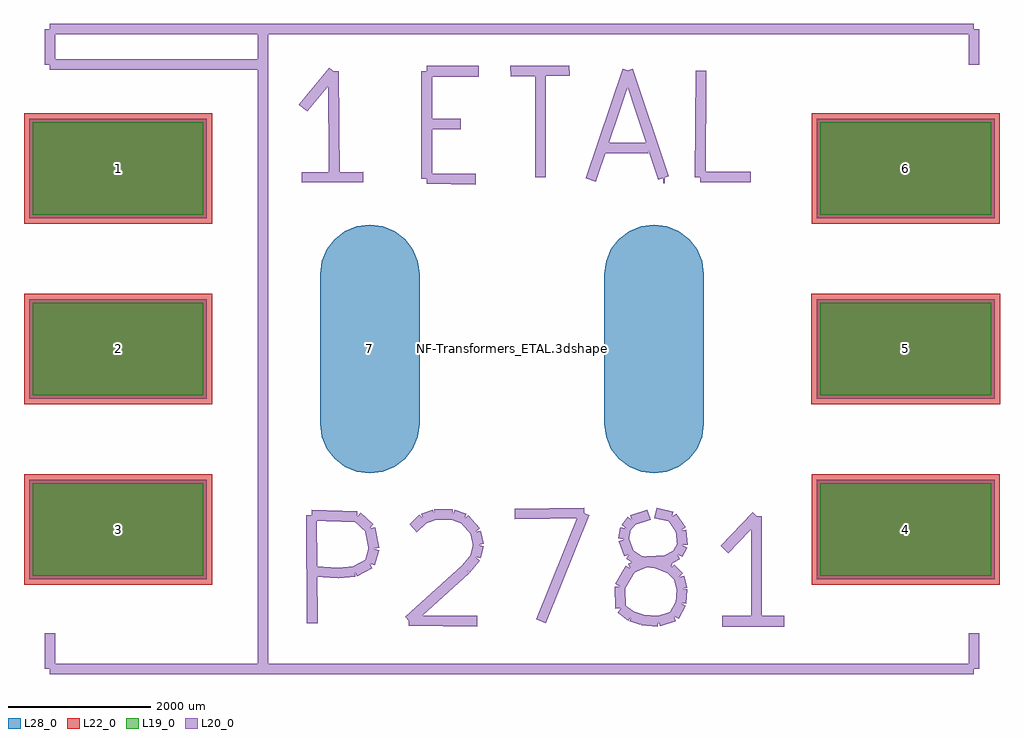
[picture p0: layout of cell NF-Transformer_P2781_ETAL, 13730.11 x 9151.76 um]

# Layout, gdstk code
import gdstk
lib = gdstk.Library(unit=1e-6, precision=1e-09)
def R(c, l, rs):  # rectangles x0, y0, x1, y1
    for r in rs: c.add(gdstk.rectangle(r[:2], r[2:], *l))
def A(c, l, x, y, w, h, nx, ny, dx, dy):  # array of equal rectangles
    R(c, l, [(x+i*dx, y+j*dy, x+i*dx+w, y+j*dy+h) for i in range(nx) for j in range(ny)])
def P(c, l, *ps):  # polygons
    for p in ps: c.add(gdstk.Polygon(p, *l))
L19_0 = (19, 0)
L20_0 = (20, 0)
L22_0 = (22, 0)
L28_0 = (28, 0)

nf_transformer_p2781_eta = lib.new_cell('NF-Transformer_P2781_ETAL')
A(nf_transformer_p2781_eta, L19_0, -6739.42, -3189.77, 2399.36, 1299.54, 1, 3, 0, 2540)
R(nf_transformer_p2781_eta, L19_0, [(4340.06,-3189.77,6739.42,-1890.23), (4338.79,-649.77,6740.69,649.77), (4340.06,1890.23,6739.42,3189.77)])
A(nf_transformer_p2781_eta, L22_0, -6864.42, -3314.77, 2649.36, 1549.54, 1, 3, 0, 2540)
R(nf_transformer_p2781_eta, L22_0, [(4215.06,-3314.77,6864.42,-1765.23), (4213.79,-774.77,6865.69,774.77), (4215.06,1765.23,6864.42,3314.77)])
A(nf_transformer_p2781_eta, L28_0, -6789.42, -3239.77, 2499.36, 1399.54, 1, 3, 0, 2540)
R(nf_transformer_p2781_eta, L28_0, [(4290.06,-3239.77,6789.42,-1840.23), (4288.79,-699.77,6790.69,699.77), (4290.06,1840.23,6789.42,3239.77)])
P(nf_transformer_p2781_eta, L28_0, [(1998.98,-1750.06),(2180.094,-1726.216),(2348.865,-1656.309),(2493.792,-1545.102),(2604.999,-1400.175),(2674.906,-1231.404),(2698.75,-1050.29),(2698.75,1050.29),(2674.906,1231.404),(2604.999,1400.175),(2493.792,1545.102),(2348.865,1656.309),(2180.094,1726.216),(1998.98,1750.06),(1817.866,1726.216),(1649.095,1656.309),(1504.168,1545.102),(1392.961,1400.175),(1323.054,1231.404),(1299.21,1050.29),(1299.21,-1050.29),(1323.054,-1231.404),(1392.961,-1400.175),(1504.168,-1545.102),(1649.095,-1656.309),(1817.866,-1726.216)],
  [(-1998.98,-1750.06),(-1817.866,-1726.216),(-1649.095,-1656.309),(-1504.168,-1545.102),(-1392.961,-1400.175),(-1323.054,-1231.404),(-1299.21,-1050.29),(-1299.21,1050.29),(-1323.054,1231.404),(-1392.961,1400.175),(-1504.168,1545.102),(-1649.095,1656.309),(-1817.866,1726.216),(-1998.98,1750.06),(-2180.094,1726.216),(-2348.865,1656.309),(-2493.792,1545.102),(-2604.999,1400.175),(-2674.906,1231.404),(-2698.75,1050.29),(-2698.75,-1050.29),(-2674.906,-1231.404),(-2604.999,-1400.175),(-2493.792,-1545.102),(-2348.865,-1656.309),(-2180.094,-1726.216)])
nf_transformer_p2781_eta.add(gdstk.FlexPath([(-6499.86,4500.88),(6499.86,4500.88)], 149.998, ends="flush", simple_path=True, layer=20, datatype=0))  # L20_0
nf_transformer_p2781_eta.add(gdstk.FlexPath([(6499.86,-4500.88),(-6499.86,-4500.88)], 149.998, ends="flush", simple_path=True, layer=20, datatype=0))  # L20_0
nf_transformer_p2781_eta.add(gdstk.FlexPath([(-6499.86,4500.88),(-6499.86,4000.5)], 149.998, ends="flush", simple_path=True, layer=20, datatype=0))  # L20_0
nf_transformer_p2781_eta.add(gdstk.FlexPath([(-3500.12,4500.88),(-3500.12,-4500.88)], 149.998, ends="flush", simple_path=True, layer=20, datatype=0))  # L20_0
nf_transformer_p2781_eta.add(gdstk.FlexPath([(-6499.86,-4500.88),(-6499.86,-4000.5)], 149.998, ends="flush", simple_path=True, layer=20, datatype=0))  # L20_0
nf_transformer_p2781_eta.add(gdstk.FlexPath([(-6499.86,4000.5),(-3500.12,4000.5)], 149.998, ends="flush", simple_path=True, layer=20, datatype=0))  # L20_0
nf_transformer_p2781_eta.add(gdstk.FlexPath([(-2509.52,3909.06),(-2499.36,2430.78)], 149.998, ends="flush", simple_path=True, layer=20, datatype=0))  # L20_0
nf_transformer_p2781_eta.add(gdstk.FlexPath([(-2938.78,3390.9),(-2509.52,3909.06)], 149.998, ends="flush", simple_path=True, layer=20, datatype=0))  # L20_0
nf_transformer_p2781_eta.add(gdstk.FlexPath([(-2959.1,2410.46),(-2090.42,2420.62)], 149.998, ends="flush", simple_path=True, layer=20, datatype=0))  # L20_0
nf_transformer_p2781_eta.add(gdstk.FlexPath([(-1198.88,2397.76),(-510.54,2387.6)], 149.998, ends="flush", simple_path=True, layer=20, datatype=0))  # L20_0
nf_transformer_p2781_eta.add(gdstk.FlexPath([(-1198.88,3906.52),(-1198.88,2397.76)], 149.998, ends="flush", simple_path=True, layer=20, datatype=0))  # L20_0
nf_transformer_p2781_eta.add(gdstk.FlexPath([(-469.9,3906.52),(-1198.88,3906.52)], 149.998, ends="flush", simple_path=True, layer=20, datatype=0))  # L20_0
nf_transformer_p2781_eta.add(gdstk.FlexPath([(-1170.94,3167.38),(-718.82,3167.38)], 149.998, ends="flush", simple_path=True, layer=20, datatype=0))  # L20_0
nf_transformer_p2781_eta.add(gdstk.FlexPath([(-20.32,3906.52),(810.26,3916.68)], 149.998, ends="flush", simple_path=True, layer=20, datatype=0))  # L20_0
nf_transformer_p2781_eta.add(gdstk.FlexPath([(401.32,3886.2),(401.32,2418.08)], 149.998, ends="flush", simple_path=True, layer=20, datatype=0))  # L20_0
nf_transformer_p2781_eta.add(gdstk.FlexPath([(2131.06,2407.92),(2148.84,2407.92)], 149.998, ends="flush", simple_path=True, layer=20, datatype=0))  # L20_0
nf_transformer_p2781_eta.add(gdstk.FlexPath([(1630.68,3916.68),(2131.06,2407.92)], 149.998, ends="flush", simple_path=True, layer=20, datatype=0))  # L20_0
nf_transformer_p2781_eta.add(gdstk.FlexPath([(1109.98,2377.44),(1630.68,3916.68)], 149.998, ends="flush", simple_path=True, layer=20, datatype=0))  # L20_0
nf_transformer_p2781_eta.add(gdstk.FlexPath([(1270,2827.02),(1920.24,2827.02)], 149.998, ends="flush", simple_path=True, layer=20, datatype=0))  # L20_0
nf_transformer_p2781_eta.add(gdstk.FlexPath([(2649.22,2418.08),(3360.42,2418.08)], 149.998, ends="flush", simple_path=True, layer=20, datatype=0))  # L20_0
nf_transformer_p2781_eta.add(gdstk.FlexPath([(2659.38,3916.68),(2649.22,2418.08)], 149.998, ends="flush", simple_path=True, layer=20, datatype=0))  # L20_0
nf_transformer_p2781_eta.add(gdstk.FlexPath([(-2440.94,-3149.6),(-2771.14,-3129.28)], 149.998, ends="flush", simple_path=True, layer=20, datatype=0))  # L20_0
nf_transformer_p2781_eta.add(gdstk.FlexPath([(-2209.8,-3129.28),(-2440.94,-3149.6)], 149.998, ends="flush", simple_path=True, layer=20, datatype=0))  # L20_0
nf_transformer_p2781_eta.add(gdstk.FlexPath([(-1998.98,-3020.06),(-2209.8,-3129.28)], 149.998, ends="flush", simple_path=True, layer=20, datatype=0))  # L20_0
nf_transformer_p2781_eta.add(gdstk.FlexPath([(-1940.56,-2809.24),(-1998.98,-3020.06)], 149.998, ends="flush", simple_path=True, layer=20, datatype=0))  # L20_0
nf_transformer_p2781_eta.add(gdstk.FlexPath([(-1998.98,-2519.68),(-1940.56,-2809.24)], 149.998, ends="flush", simple_path=True, layer=20, datatype=0))  # L20_0
nf_transformer_p2781_eta.add(gdstk.FlexPath([(-2179.32,-2359.66),(-1998.98,-2519.68)], 149.998, ends="flush", simple_path=True, layer=20, datatype=0))  # L20_0
nf_transformer_p2781_eta.add(gdstk.FlexPath([(-2819.4,-2339.34),(-2179.32,-2359.66)], 149.998, ends="flush", simple_path=True, layer=20, datatype=0))  # L20_0
nf_transformer_p2781_eta.add(gdstk.FlexPath([(-2809.24,-3858.26),(-2819.4,-2339.34)], 149.998, ends="flush", simple_path=True, layer=20, datatype=0))  # L20_0
nf_transformer_p2781_eta.add(gdstk.FlexPath([(-1450.34,-3820.16),(-490.22,-3830.32)], 149.998, ends="flush", simple_path=True, layer=20, datatype=0))  # L20_0
nf_transformer_p2781_eta.add(gdstk.FlexPath([(-650.24,-3098.8),(-1450.34,-3820.16)], 149.998, ends="flush", simple_path=True, layer=20, datatype=0))  # L20_0
nf_transformer_p2781_eta.add(gdstk.FlexPath([(-510.54,-2928.62),(-650.24,-3098.8)], 149.998, ends="flush", simple_path=True, layer=20, datatype=0))  # L20_0
nf_transformer_p2781_eta.add(gdstk.FlexPath([(-469.9,-2758.44),(-510.54,-2928.62)], 149.998, ends="flush", simple_path=True, layer=20, datatype=0))  # L20_0
nf_transformer_p2781_eta.add(gdstk.FlexPath([(-510.54,-2570.48),(-469.9,-2758.44)], 149.998, ends="flush", simple_path=True, layer=20, datatype=0))  # L20_0
nf_transformer_p2781_eta.add(gdstk.FlexPath([(-670.56,-2390.14),(-510.54,-2570.48)], 149.998, ends="flush", simple_path=True, layer=20, datatype=0))  # L20_0
nf_transformer_p2781_eta.add(gdstk.FlexPath([(-830.58,-2329.18),(-670.56,-2390.14)], 149.998, ends="flush", simple_path=True, layer=20, datatype=0))  # L20_0
nf_transformer_p2781_eta.add(gdstk.FlexPath([(-1089.66,-2329.18),(-830.58,-2329.18)], 149.998, ends="flush", simple_path=True, layer=20, datatype=0))  # L20_0
nf_transformer_p2781_eta.add(gdstk.FlexPath([(-1249.68,-2390.14),(-1089.66,-2329.18)], 149.998, ends="flush", simple_path=True, layer=20, datatype=0))  # L20_0
nf_transformer_p2781_eta.add(gdstk.FlexPath([(-1389.38,-2519.68),(-1249.68,-2390.14)], 149.998, ends="flush", simple_path=True, layer=20, datatype=0))  # L20_0
nf_transformer_p2781_eta.add(gdstk.FlexPath([(1021.08,-2308.86),(408.94,-3830.32)], 149.998, ends="flush", simple_path=True, layer=20, datatype=0))  # L20_0
nf_transformer_p2781_eta.add(gdstk.FlexPath([(40.64,-2319.02),(1021.08,-2308.86)], 149.998, ends="flush", simple_path=True, layer=20, datatype=0))  # L20_0
nf_transformer_p2781_eta.add(gdstk.FlexPath([(1689.1,-2410.46),(1930.4,-2329.18)], 149.998, ends="flush", simple_path=True, layer=20, datatype=0))  # L20_0
nf_transformer_p2781_eta.add(gdstk.FlexPath([(1600.2,-2519.68),(1689.1,-2410.46)], 149.998, ends="flush", simple_path=True, layer=20, datatype=0))  # L20_0
nf_transformer_p2781_eta.add(gdstk.FlexPath([(1569.72,-2679.7),(1600.2,-2519.68)], 149.998, ends="flush", simple_path=True, layer=20, datatype=0))  # L20_0
nf_transformer_p2781_eta.add(gdstk.FlexPath([(1651,-2890.52),(1569.72,-2679.7)], 149.998, ends="flush", simple_path=True, layer=20, datatype=0))  # L20_0
nf_transformer_p2781_eta.add(gdstk.FlexPath([(1790.7,-2979.42),(1651,-2890.52)], 149.998, ends="flush", simple_path=True, layer=20, datatype=0))  # L20_0
nf_transformer_p2781_eta.add(gdstk.FlexPath([(2019.3,-3009.9),(1790.7,-2979.42)], 149.998, ends="flush", simple_path=True, layer=20, datatype=0))  # L20_0
nf_transformer_p2781_eta.add(gdstk.FlexPath([(2230.12,-3088.64),(2019.3,-3009.9)], 149.998, ends="flush", simple_path=True, layer=20, datatype=0))  # L20_0
nf_transformer_p2781_eta.add(gdstk.FlexPath([(2349.5,-3210.56),(2230.12,-3088.64)], 149.998, ends="flush", simple_path=True, layer=20, datatype=0))  # L20_0
nf_transformer_p2781_eta.add(gdstk.FlexPath([(2390.14,-3378.2),(2349.5,-3210.56)], 149.998, ends="flush", simple_path=True, layer=20, datatype=0))  # L20_0
nf_transformer_p2781_eta.add(gdstk.FlexPath([(2379.98,-3578.86),(2390.14,-3378.2)], 149.998, ends="flush", simple_path=True, layer=20, datatype=0))  # L20_0
nf_transformer_p2781_eta.add(gdstk.FlexPath([(2280.92,-3759.2),(2379.98,-3578.86)], 149.998, ends="flush", simple_path=True, layer=20, datatype=0))  # L20_0
nf_transformer_p2781_eta.add(gdstk.FlexPath([(2059.94,-3830.32),(2280.92,-3759.2)], 149.998, ends="flush", simple_path=True, layer=20, datatype=0))  # L20_0
nf_transformer_p2781_eta.add(gdstk.FlexPath([(1828.8,-3810),(2059.94,-3830.32)], 149.998, ends="flush", simple_path=True, layer=20, datatype=0))  # L20_0
nf_transformer_p2781_eta.add(gdstk.FlexPath([(1678.94,-3759.2),(1828.8,-3810)], 149.998, ends="flush", simple_path=True, layer=20, datatype=0))  # L20_0
nf_transformer_p2781_eta.add(gdstk.FlexPath([(1529.08,-3649.98),(1678.94,-3759.2)], 149.998, ends="flush", simple_path=True, layer=20, datatype=0))  # L20_0
nf_transformer_p2781_eta.add(gdstk.FlexPath([(1518.92,-3340.1),(1529.08,-3649.98)], 149.998, ends="flush", simple_path=True, layer=20, datatype=0))  # L20_0
nf_transformer_p2781_eta.add(gdstk.FlexPath([(1668.78,-3088.64),(1518.92,-3340.1)], 149.998, ends="flush", simple_path=True, layer=20, datatype=0))  # L20_0
nf_transformer_p2781_eta.add(gdstk.FlexPath([(1899.92,-2989.58),(1668.78,-3088.64)], 149.998, ends="flush", simple_path=True, layer=20, datatype=0))  # L20_0
nf_transformer_p2781_eta.add(gdstk.FlexPath([(2159,-2979.42),(1899.92,-2989.58)], 149.998, ends="flush", simple_path=True, layer=20, datatype=0))  # L20_0
nf_transformer_p2781_eta.add(gdstk.FlexPath([(2329.18,-2890.52),(2159,-2979.42)], 149.998, ends="flush", simple_path=True, layer=20, datatype=0))  # L20_0
nf_transformer_p2781_eta.add(gdstk.FlexPath([(2400.3,-2758.44),(2329.18,-2890.52)], 149.998, ends="flush", simple_path=True, layer=20, datatype=0))  # L20_0
nf_transformer_p2781_eta.add(gdstk.FlexPath([(2379.98,-2550.16),(2400.3,-2758.44)], 149.998, ends="flush", simple_path=True, layer=20, datatype=0))  # L20_0
nf_transformer_p2781_eta.add(gdstk.FlexPath([(2250.44,-2359.66),(2379.98,-2550.16)], 149.998, ends="flush", simple_path=True, layer=20, datatype=0))  # L20_0
nf_transformer_p2781_eta.add(gdstk.FlexPath([(2019.3,-2308.86),(2250.44,-2359.66)], 149.998, ends="flush", simple_path=True, layer=20, datatype=0))  # L20_0
nf_transformer_p2781_eta.add(gdstk.FlexPath([(3439.16,-2349.5),(3439.16,-3830.32)], 149.998, ends="flush", simple_path=True, layer=20, datatype=0))  # L20_0
nf_transformer_p2781_eta.add(gdstk.FlexPath([(2989.58,-2819.4),(3439.16,-2349.5)], 149.998, ends="flush", simple_path=True, layer=20, datatype=0))  # L20_0
nf_transformer_p2781_eta.add(gdstk.FlexPath([(2959.1,-3830.32),(3830.32,-3830.32)], 149.998, ends="flush", simple_path=True, layer=20, datatype=0))  # L20_0
nf_transformer_p2781_eta.add(gdstk.FlexPath([(6499.86,4500.88),(6499.86,4000.5)], 149.998, ends="flush", simple_path=True, layer=20, datatype=0))  # L20_0
nf_transformer_p2781_eta.add(gdstk.FlexPath([(6499.86,-4500.88),(6499.86,-4000.5)], 149.998, ends="flush", simple_path=True, layer=20, datatype=0))  # L20_0
nf_transformer_p2781_eta.add(gdstk.Label('NF-Transformers_ETAL.3dshapes/NF-Transformer_P2781_ETAL.wrl', (0,0), layer=12, texttype=0))
nf_transformer_p2781_eta.add(gdstk.Label('7', (-1998.98,0), layer=28, texttype=0))
nf_transformer_p2781_eta.add(gdstk.Label('6', (5539.74,2540), layer=28, texttype=0))
nf_transformer_p2781_eta.add(gdstk.Label('5', (5539.74,0), layer=28, texttype=0))
nf_transformer_p2781_eta.add(gdstk.Label('4', (5539.74,-2540), layer=28, texttype=0))
nf_transformer_p2781_eta.add(gdstk.Label('3', (-5539.74,-2540), layer=28, texttype=0))
nf_transformer_p2781_eta.add(gdstk.Label('2', (-5539.74,0), layer=28, texttype=0))
nf_transformer_p2781_eta.add(gdstk.Label('1', (-5539.74,2540), layer=28, texttype=0))
nf_transformer_p2781_eta.add(gdstk.Label('type', (0,-7500.62), layer=9, texttype=0))
nf_transformer_p2781_eta.add(gdstk.Label('devicename', (0,7000.24), layer=9, texttype=0))

lib.write_gds('NF-Transformer_P2781_ETAL.gds')
